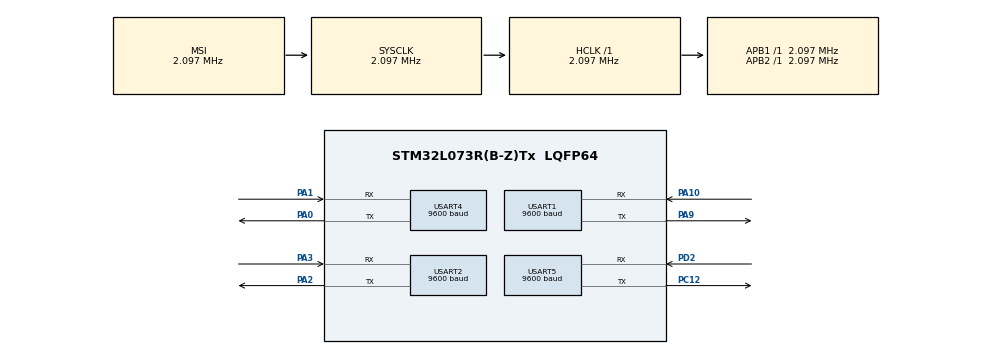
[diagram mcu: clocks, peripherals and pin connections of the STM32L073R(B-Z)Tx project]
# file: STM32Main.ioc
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Dma.Request0=USART5_RX
Dma.Request1=USART1_RX
Dma.USART1_RX.1.Direction=DMA_PERIPH_TO_MEMORY
Dma.USART1_RX.1.Instance=DMA1_Channel3
Dma.USART1_RX.1.MemDataAlignment=DMA_MDATAALIGN_BYTE
Dma.USART1_RX.1.MemInc=DMA_MINC_ENABLE
Dma.USART1_RX.1.Mode=DMA_NORMAL
Dma.USART1_RX.1.PeriphDataAlignment=DMA_PDATAALIGN_BYTE
Dma.USART1_RX.1.PeriphInc=DMA_PINC_DISABLE
Dma.USART1_RX.1.Priority=DMA_PRIORITY_LOW
Dma.USART5_RX.0.Direction=DMA_PERIPH_TO_MEMORY
Dma.USART5_RX.0.Instance=DMA1_Channel2
Dma.USART5_RX.0.MemDataAlignment=DMA_MDATAALIGN_BYTE
Dma.USART5_RX.0.MemInc=DMA_MINC_ENABLE
Dma.USART5_RX.0.Mode=DMA_NORMAL
Dma.USART5_RX.0.PeriphDataAlignment=DMA_PDATAALIGN_BYTE
Dma.USART5_RX.0.PeriphInc=DMA_PINC_DISABLE
Dma.USART5_RX.0.Priority=DMA_PRIORITY_LOW
Mcu.Family=STM32L0
Mcu.Name=STM32L073R(B-Z)Tx
Mcu.Package=LQFP64
NVIC.DMA1_Channel2_3_IRQn=true\:0\:0\:false\:false\:true\:false\:true\:true
NVIC.USART1_IRQn=true\:0\:0\:false\:false\:true\:true\:true\:true
NVIC.USART2_IRQn=true\:0\:0\:false\:false\:true\:true\:true\:true
NVIC.USART4_5_IRQn=true\:0\:0\:false\:false\:true\:true\:true\:true
PA0.Mode=Asynchronous
PA0.Signal=USART4_TX
PA1.Mode=Asynchronous
PA1.Signal=USART4_RX
PA10.Mode=Asynchronous
PA10.Signal=USART1_RX
PA2.Mode=Asynchronous
PA2.Signal=USART2_TX
PA3.Mode=Asynchronous
PA3.Signal=USART2_RX
PA9.Mode=Asynchronous
PA9.Signal=USART1_TX
PC12.Mode=Asynchronous
PC12.Signal=USART5_TX
PD2.Mode=Asynchronous
PD2.Signal=USART5_RX
ProjectManager.HeapSize=0x200
ProjectManager.StackSize=0x400
ProjectManager.TargetToolchain=STM32CubeIDE
RCC.AHBFreq_Value=2097000
RCC.APB1Freq_Value=2097000
RCC.APB1TimFreq_Value=2097000
RCC.APB2Freq_Value=2097000
RCC.APB2TimFreq_Value=2097000
RCC.HCLKFreq_Value=2097000
RCC.HSE_VALUE=8000000
RCC.HSI16_VALUE=16000000
RCC.HSI48_VALUE=48000000
RCC.HSI_VALUE=16000000
RCC.LSE_VALUE=32768
RCC.MSI_VALUE=2097000
RCC.SYSCLKFreq_VALUE=2097000
RCC.VCOOutputFreq_Value=48000000
USART1.BaudRate=9600
USART1.VirtualMode-Asynchronous=VM_ASYNC
USART2.BaudRate=9600
USART2.VirtualMode-Asynchronous=VM_ASYNC
USART4.BaudRate=9600
USART4.VirtualMode-Asynchronous=VM_ASYNC
USART5.BaudRate=9600
USART5.VirtualMode-Asynchronous=VM_ASYNC
board=custom

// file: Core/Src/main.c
/* USER CODE BEGIN Header */
/**
  ******************************************************************************
  * @file           : main.c
  * @brief          : Main program body
  ******************************************************************************
  * @attention
  *
  * Copyright (c) 2025 STMicroelectronics.
  * All rights reserved.
  *
  * This software is licensed under terms that can be found in the LICENSE file
  * in the root directory of this software component.
  * If no LICENSE file comes with this software, it is provided AS-IS.
  *
  ******************************************************************************
  */
/* USER CODE END Header */
//#include "main.h"
//#include "dma.h"
//#include "usart.h"
//#include "gpio.h"

/* USER CODE BEGIN PD */
#define BUFFER_SIZE 64

/* USER CODE END PD */

/* USER CODE BEGIN PV */
uint8_t dma_commod_buf[BUFFER_SIZE] __attribute__((aligned(4)));
uint8_t dma_sensor_buf[BUFFER_SIZE] __attribute__((aligned(4)));
uint8_t actuator_buf[ACTUATOR_PACKET_SIZE] __attribute__((aligned(4)));
uint8_t sensor_buf[SENSOR_PACKET_SIZE] __attribute__((aligned(4)));

struct ActuatorPacket act_config;
struct ActuatorPacket masked_act_config;
struct SensorPacket sensor_data;

/* packet flag
 * [0] Got actuator packet from COMMOD	(COMMOD_ACT)
 * [1] Got actuator packet from SENSOR	(SENSOR_ACT)
 * [2] Got sensor packet from SENSOR	(SENSOR_SENSOR)
 */
uint8_t packet_flag[3] = {0, 0, 0};

#define COMMOD_ACT 0
#define SENSOR_ACT 1
#define SENSOR_SENSOR 2

//@TODO Refactoring
uint8_t isTunnel;
const uint16_t distances[] = { 0, 10, 15, 20 };
#define DRIVING_MODE_TUNNEL_THRESHOLD_BRIGHTNESS 3100
#define DRIVING_MODE_TUNNEL_THRESHOLD_HEIGHT 15

/* USER CODE END PV */

void SystemClock_Config(void);
/* USER CODE BEGIN PFP */
void setDefaultActuatorPacket(void);

void printActuatorPacket(struct ActuatorPacket); // DEBUG
void printSensorPacket(void); // DEBUG

/* USER CODE END PFP */

/* USER CODE BEGIN 0 */

// UART Interrupt Callback
//void HAL_UART_RxCpltCallback(UART_HandleTypeDef *huart)
//{
//	if (huart->Instance == USART1) { // Communication Module (COMMOD)
//		uint8_t msg[64];
//
//		int len = snprintf(msg, sizeof(msg), "\r\n[<- COMMOD_ACT]\r\n"); // DEBUG
//		HAL_UART_Transmit(&huart2, (uint8_t*)msg, len, HAL_MAX_DELAY); // DEBUG
//
//		if( deserialize_actuator_packet(&actuator_buf, &act_config) == 0){
//			packet_flag[COMMOD_ACT] = 1;
//		}
//		HAL_UART_Receive_IT(UART_COMMOD, actuator_buf, ACTUATOR_PACKET_SIZE);
//    }
//}

// UART DMA Callback
void HAL_UARTEx_RxEventCallback(UART_HandleTypeDef *huart, uint16_t Size)
{
	uint8_t msg[BUFFER_SIZE]; // DEBUG
	int len;

	if(huart->Instance == USART1) // Communication module (COMMOD)
	{
		if(dma_commod_buf[0] == UART_START_BYTE) {
			if(dma_commod_buf[1] == ACTUATOR_PACKET_ID && Size == ACTUATOR_PACKET_SIZE)
			{
				memcpy(actuator_buf, dma_commod_buf, ACTUATOR_PACKET_SIZE);

				len = snprintf(msg, sizeof(msg), "\r\n[<- COMMOD_ACT]\r\n"); // DEBUG
				HAL_UART_Transmit(&huart2, (uint8_t*)msg, len, HAL_MAX_DELAY); // DEBUG

				packet_flag[COMMOD_ACT] = 1;
			}
		}
		HAL_UARTEx_ReceiveToIdle_DMA(UART_COMMOD, dma_commod_buf, BUFFER_SIZE);
	}
	else if(huart->Instance == USART5) // Sensor module
	{
		//len = snprintf(msg, sizeof(msg), "\r\n[<- check1]\r\n"); // DEBUG
		//HAL_UART_Transmit(&huart2, (uint8_t*)msg, len, HAL_MAX_DELAY); // DEBUG
		if(dma_sensor_buf[0] == UART_START_BYTE)
		{
			//len = snprintf(msg, sizeof(msg), "\r\n[<- check2]\r\n"); // DEBUG
			//HAL_UART_Transmit(&huart2, (uint8_t*)msg, len, HAL_MAX_DELAY); // DEBUG
			if((dma_sensor_buf[1] == ACTUATOR_PACKET_ID) && (Size == ACTUATOR_PACKET_SIZE))
			{
				//len = snprintf(msg, sizeof(msg), "\r\n[<- check3]\r\n"); // DEBUG
				//HAL_UART_Transmit(&huart2, (uint8_t*)msg, len, HAL_MAX_DELAY); // DEBUG
				memcpy(actuator_buf, dma_sensor_buf, ACTUATOR_PACKET_SIZE);

				len = snprintf(msg, sizeof(msg), "\r\n[<- SENSOR_ACT]\r\n"); // DEBUG
				HAL_UART_Transmit(&huart2, (uint8_t*)msg, len, HAL_MAX_DELAY); // DEBUG

				packet_flag[SENSOR_ACT] = 1;
			}
			else if((dma_sensor_buf[1] == SENSOR_PACKET_ID) && (Size == SENSOR_PACKET_SIZE))
			{
				//len = snprintf(msg, sizeof(msg), "\r\n[<- check4]\r\n"); // DEBUG
				//HAL_UART_Transmit(&huart2, (uint8_t*)msg, len, HAL_MAX_DELAY); // DEBUG
				memcpy(sensor_buf, dma_sensor_buf, SENSOR_PACKET_SIZE);

				len = snprintf(msg, sizeof(msg), "\r\n[<- SENSOR_SENSOR]\r\n"); // DEBUG
				HAL_UART_Transmit(&huart2, (uint8_t*)msg, len, HAL_MAX_DELAY); // DEBUG

				packet_flag[SENSOR_SENSOR] = 1;
			}
		}
		//len = snprintf(msg, sizeof(msg), "\r\n[<- check5]\r\n"); // DEBUG
		//HAL_UART_Transmit(&huart2, (uint8_t*)msg, len, HAL_MAX_DELAY); // DEBUG
		HAL_UARTEx_ReceiveToIdle_DMA(UART_SENSOR, dma_sensor_buf, BUFFER_SIZE);
	}
}

enum  control_value_window{
		//WINDOW_STEP0 = 430, //테스트용
		WINDOW_STEP0 = 430, //-80도
		WINDOW_STEP1 = 505,
		WINDOW_STEP2 = 580,
		WINDOW_STEP3 = 650 //-40도
		//WINDOW_STEP3 = 505 //테스트용

};
enum  control_value_seat{
		//SEAT_STEP0 = 1180, //for test
		SEAT_STEP0 = 1250, //+80도
		SEAT_STEP1 = 1180,
		SEAT_STEP2 = 1110,
		SEAT_STEP3 = 1040 //+40도
		//SEAT_STEP3 = 1110 //for test

};
void setMotorValue(struct ActuatorPacket *packet)
{
	switch(packet->servo_window){
	case 0:
		packet->servo_window = WINDOW_STEP0;
		break;
	case 1:
		packet->servo_window = WINDOW_STEP1;
		break;
	case 2:
		packet->servo_window = WINDOW_STEP2;
		break;
	case 3:
		packet->servo_window = WINDOW_STEP3;
		break;
	default:
		packet->servo_window = WINDOW_STEP0;
		break;
	};

	switch(packet->servo_chair){
	case 0:
		packet->servo_chair = SEAT_STEP0;
		break;
	case 1:
		packet->servo_chair = SEAT_STEP1;
		break;
	case 2:
		packet->servo_chair = SEAT_STEP2;
		break;
	case 3:
		packet->servo_chair = SEAT_STEP3;
		break;
	default:
		packet->servo_chair = SEAT_STEP0;
		break;
	};
}
/* USER CODE END 0 */

int main(void)
{

  /* MCU Configuration--------------------------------------------------------*/

  /* Reset of all peripherals, Initializes the Flash interface and the Systick. */
  HAL_Init();

  /* Configure the system clock */
  SystemClock_Config();

  /* Initialize all configured peripherals */
  MX_GPIO_Init();
  MX_DMA_Init();
  MX_USART1_UART_Init();
  MX_USART2_UART_Init();
  MX_USART4_UART_Init();
  MX_USART5_UART_Init();
  /* USER CODE BEGIN 2 */
  setDefaultActuatorPacket();

//  HAL_UART_Receive_IT(UART_COMMOD, actuator_buf, ACTUATOR_PACKET_SIZE);
//  HAL_UART_Receive_IT(UART_SENSOR, sensor_buf, BUFFER_SIZE);
  HAL_UARTEx_ReceiveToIdle_DMA(UART_COMMOD, dma_commod_buf, BUFFER_SIZE);
  HAL_UARTEx_ReceiveToIdle_DMA(UART_SENSOR, dma_sensor_buf, BUFFER_SIZE);

  char debug_buf[BUFFER_SIZE]; // DEBUG
  int len; // DEBUG

  /* USER CODE END 2 */

  /* Infinite loop */
  /* USER CODE BEGIN WHILE */
  while (1)
  {

	/* Actuator packet from Communication module */
	if(packet_flag[COMMOD_ACT] == 1) {
		packet_flag[COMMOD_ACT] = 0;

		if(deserialize_actuator_packet(actuator_buf, &act_config) == 0) // check crc
		{
			//printActuatorPacket(act_config);					// DEBUG
			memcpy(&masked_act_config, &act_config, ACTUATOR_PACKET_SIZE);

			if(isTunnel) {
				masked_act_config.led = 1;

				if(masked_act_config.driving_mode) {
					masked_act_config.MODE = 0x1;
					masked_act_config.servo_window = 0;
				}
			}

			serialize_actuator_packet(&masked_act_config, actuator_buf);

			memcpy(&masked_act_config, actuator_buf, ACTUATOR_PACKET_SIZE); // DEBUG
			len = snprintf(debug_buf, sizeof(debug_buf), "\r\n[-> COMMOD]\r\n"); // DEBUG
			HAL_UART_Transmit(&huart2, (uint8_t*)debug_buf, len, HAL_MAX_DELAY); // DEBUG
			printActuatorPacket(masked_act_config); // DEBUG
			//HAL_UART_Transmit(UART_COMMOD, actuator_buf, ACTUATOR_PACKET_SIZE, HAL_MAX_DELAY); // DEBUG

			if(HAL_OK != HAL_UART_Transmit(UART_SENSOR, actuator_buf, ACTUATOR_PACKET_SIZE, HAL_MAX_DELAY))
			{
				Error_Handler();
			}

			//액추에이터 구조체에 모터 제어값 적용 후 버퍼에 담기
			setMotorValue(&masked_act_config);
			serialize_actuator_packet(&masked_act_config, actuator_buf);
			if(HAL_OK != HAL_UART_Transmit(UART_ACTUATOR, actuator_buf, ACTUATOR_PACKET_SIZE, HAL_MAX_DELAY))
			{
				Error_Handler();
			}

			memset(actuator_buf,0,sizeof(actuator_buf));
		}
	}

	/* Actuator packet from Sensor module */
	if(packet_flag[SENSOR_ACT] == 1) {
		packet_flag[SENSOR_ACT] = 0;

		if(deserialize_actuator_packet(actuator_buf, &act_config) == 0) // check crc
		{
			//printActuatorPacket(act_config); // DEBUG
			memcpy(&masked_act_config, &act_config, ACTUATOR_PACKET_SIZE);

			if(isTunnel) {
				masked_act_config.led = 1;

				if(masked_act_config.driving_mode) {
					masked_act_config.MODE = 0x1;
					masked_act_config.servo_window = 0;
				}
			}

			serialize_actuator_packet(&masked_act_config, actuator_buf);

			//Send Actuator packet to Sensor // DEBUG
			memcpy(&masked_act_config, actuator_buf, ACTUATOR_PACKET_SIZE); // DEBUG
			len = snprintf(debug_buf, sizeof(debug_buf), "\r\n[-> SENSOR]\r\n"); // DEBUG
			HAL_UART_Transmit(&huart2, (uint8_t*)debug_buf, len, HAL_MAX_DELAY); // DEBUG
			printActuatorPacket(masked_act_config); // DEBUG

			if(HAL_OK != HAL_UART_Transmit(UART_COMMOD, actuator_buf, ACTUATOR_PACKET_SIZE, HAL_MAX_DELAY))
			{
				Error_Handler();
			}
			//HAL_UART_Transmit(UART_SENSOR, actuator_buf, ACTUATOR_PACKET_SIZE, HAL_MAX_DELAY);

			//액추에이터 구조체에 모터 제어값 적용 후 버퍼에 담기
			setMotorValue(&masked_act_config);
			serialize_actuator_packet(&masked_act_config, actuator_buf);
			if(HAL_OK != HAL_UART_Transmit(UART_ACTUATOR, actuator_buf, ACTUATOR_PACKET_SIZE, HAL_MAX_DELAY))
			{
				Error_Handler();
			}

			memset(actuator_buf,0,sizeof(actuator_buf));
		}
	}

	/* Sensor packet from Sensor module */
	if(packet_flag[SENSOR_SENSOR] == 1) {
		packet_flag[SENSOR_SENSOR] = 0;

		if(deserialize_sensor_packet(sensor_buf, &sensor_data) == 0) // check crc
		{
			memcpy(&masked_act_config, &act_config, ACTUATOR_PACKET_SIZE);

			if(sensor_data.photo < DRIVING_MODE_TUNNEL_THRESHOLD_BRIGHTNESS && // is Tunnel
					sensor_data.ultra_sonic1 < DRIVING_MODE_TUNNEL_THRESHOLD_HEIGHT) {
				isTunnel = 1;
			} else {
				isTunnel = 0;
			}

			printSensorPacket(); //debug

			len = snprintf(debug_buf, sizeof(debug_buf), "Tunnel: %u\r\n\r\n", isTunnel); // DEBUG
			HAL_UART_Transmit(&huart2, (uint8_t*)debug_buf, len, HAL_MAX_DELAY); // DEBUG

			if(isTunnel) {
				masked_act_config.led = 1;

				if(masked_act_config.driving_mode) {
					masked_act_config.MODE = 0x1;
					masked_act_config.servo_window = 0;
				}

				if((sensor_data.ultra_sonic2) < distances[act_config.front_distance]+5) {
					masked_act_config.buzzer = 1;
				} else {
					masked_act_config.buzzer = 0;
				}
			}
			else
			{
				if((sensor_data.ultra_sonic2) < distances[act_config.front_distance]) {
					masked_act_config.buzzer = 1;
				} else {
					masked_act_config.buzzer = 0;
				}
			}

			setMotorValue(&masked_act_config);
			serialize_actuator_packet(&masked_act_config, actuator_buf);
			if(HAL_OK != HAL_UART_Transmit(UART_ACTUATOR, actuator_buf, ACTUATOR_PACKET_SIZE, HAL_MAX_DELAY))
			{
				Error_Handler();
			}

			memset(actuator_buf,0,sizeof(actuator_buf));
		}

	}

    /* USER CODE END WHILE */

  }
}

void SystemClock_Config(void)
{
  RCC_OscInitTypeDef RCC_OscInitStruct = {0};
  RCC_ClkInitTypeDef RCC_ClkInitStruct = {0};
  RCC_PeriphCLKInitTypeDef PeriphClkInit = {0};

  /** Configure the main internal regulator output voltage
  */
  __HAL_PWR_VOLTAGESCALING_CONFIG(PWR_REGULATOR_VOLTAGE_SCALE1);

  /** Initializes the RCC Oscillators according to the specified parameters
  * in the RCC_OscInitTypeDef structure.
  */
  RCC_OscInitStruct.OscillatorType = RCC_OSCILLATORTYPE_MSI;
  RCC_OscInitStruct.MSIState = RCC_MSI_ON;
  RCC_OscInitStruct.MSICalibrationValue = 0;
  RCC_OscInitStruct.MSIClockRange = RCC_MSIRANGE_5;
  RCC_OscInitStruct.PLL.PLLState = RCC_PLL_NONE;
  if (HAL_RCC_OscConfig(&RCC_OscInitStruct) != HAL_OK)
  {
    Error_Handler();
  }

  /** Initializes the CPU, AHB and APB buses clocks
  */
  RCC_ClkInitStruct.ClockType = RCC_CLOCKTYPE_HCLK|RCC_CLOCKTYPE_SYSCLK
                              |RCC_CLOCKTYPE_PCLK1|RCC_CLOCKTYPE_PCLK2;
  RCC_ClkInitStruct.SYSCLKSource = RCC_SYSCLKSOURCE_MSI;
  RCC_ClkInitStruct.AHBCLKDivider = RCC_SYSCLK_DIV1;
  RCC_ClkInitStruct.APB1CLKDivider = RCC_HCLK_DIV1;
  RCC_ClkInitStruct.APB2CLKDivider = RCC_HCLK_DIV1;

  if (HAL_RCC_ClockConfig(&RCC_ClkInitStruct, FLASH_LATENCY_0) != HAL_OK)
  {
    Error_Handler();
  }
  PeriphClkInit.PeriphClockSelection = RCC_PERIPHCLK_USART1|RCC_PERIPHCLK_USART2;
  PeriphClkInit.Usart1ClockSelection = RCC_USART1CLKSOURCE_PCLK2;
  PeriphClkInit.Usart2ClockSelection = RCC_USART2CLKSOURCE_PCLK1;
  if (HAL_RCCEx_PeriphCLKConfig(&PeriphClkInit) != HAL_OK)
  {
    Error_Handler();
  }
}

/* USER CODE BEGIN 4 */

void setDefaultActuatorPacket(void)
{
  act_config.start_byte = 0xAA;
  act_config.packet_id = 0x01;

  act_config.led_rgb = 0b000;
  act_config.fan = 0;
  act_config.led = 0;
  act_config.buzzer = 0;
  act_config.driving_mode = 2;

  act_config.servo_chair = 0;
  act_config.servo_window = 0;
  act_config.front_distance = 1;

  act_config.crc = 0;

  memcpy(&masked_act_config, &act_config, ACTUATOR_PACKET_SIZE);
}
void HAL_UART_ErrorCallback(UART_HandleTypeDef *huart)
{
	if(huart->Instance == huart1.Instance)
	{
	  HAL_UARTEx_ReceiveToIdle_DMA(UART_COMMOD, dma_commod_buf, BUFFER_SIZE);
	}
  if(huart->Instance == huart5.Instance)
  {
	  HAL_UARTEx_ReceiveToIdle_DMA(UART_SENSOR, dma_sensor_buf, BUFFER_SIZE);
  }

}
void testTask(void)
{
   static int a = 0;

   if(a == 0)
   {
      a = 1;
      act_config.servo_chair = 1200;
      act_config.servo_window = 450;
      act_config.led = 1;
      act_config.led_rgb = 7;
      act_config.fan = 3;
      act_config.buzzer = 1;
      serialize_actuator_packet(&act_config,actuator_buf);
      if(HAL_UART_Transmit_IT(UART_ACTUATOR,actuator_buf , ACTUATOR_PACKET_SIZE) != HAL_OK)
      {
        Error_Handler();
      }
   }
   else
   {
      a = 0;
      act_config.servo_chair = 450;
      act_config.servo_window = 1200;
      act_config.led = 0;
      act_config.led_rgb = 0;
      act_config.fan = 0;
      act_config.buzzer = 1;
      serialize_actuator_packet(&act_config,actuator_buf);
      if(HAL_UART_Transmit_IT(UART_ACTUATOR,actuator_buf , ACTUATOR_PACKET_SIZE) != HAL_OK)
      {
        Error_Handler();
      }
   }
}

void printActuatorPacket(struct ActuatorPacket act_config)
{
    char msg[64];
    int len;

    // 1. start_byte
    len = snprintf(msg, sizeof(msg), "start_byte: 0x%02X\r\n", act_config.start_byte);
    HAL_UART_Transmit(&huart2, (uint8_t*)msg, len, HAL_MAX_DELAY);

    // 2. packet_id
    len = snprintf(msg, sizeof(msg), "packet_id:  0x%02X\r\n", act_config.packet_id);
    HAL_UART_Transmit(&huart2, (uint8_t*)msg, len, HAL_MAX_DELAY);

    // 3. RGB bits
    len = snprintf(msg, sizeof(msg),
        "LED RGB:    R=%u G=%u B=%u\r\n",
        act_config.R, act_config.G, act_config.B);
    HAL_UART_Transmit(&huart2, (uint8_t*)msg, len, HAL_MAX_DELAY);

    // 4. fan, led, buzzer, driving_mode
    len = snprintf(msg, sizeof(msg),
        "fan: %u  led: %u  buzzer: %u  mode: %u\r\n",
        act_config.fan, act_config.led, act_config.buzzer, act_config.driving_mode);
    HAL_UART_Transmit(&huart2, (uint8_t*)msg, len, HAL_MAX_DELAY);

    // 5. servo angles
    len = snprintf(msg, sizeof(msg),
        "servo_chair:  %u\r\n"
        "servo_window: %u\r\n"
        "front_distance: %u\r\n",
        act_config.servo_chair,
        act_config.servo_window,
        act_config.front_distance);
    HAL_UART_Transmit(&huart2, (uint8_t*)msg, len, HAL_MAX_DELAY);

    // 6. crc
    len = snprintf(msg, sizeof(msg), "crc: 0x%02X\r\n\r\n", act_config.crc);
    HAL_UART_Transmit(&huart2, (uint8_t*)msg, len, HAL_MAX_DELAY);
}

void printSensorPacket(void)
{
    char msg[64];
    int len;

    // 1. start_byte
    len = snprintf(msg, sizeof(msg), "start_byte:    0x%02X\r\n", sensor_data.start_byte);
    HAL_UART_Transmit(&huart2, (uint8_t*)msg, len, HAL_MAX_DELAY);

    // 2. packet_id
    len = snprintf(msg, sizeof(msg), "packet_id:     0x%02X\r\n", sensor_data.packet_id);
    HAL_UART_Transmit(&huart2, (uint8_t*)msg, len, HAL_MAX_DELAY);

    // 3. 조도 센서 값 (photo)
    len = snprintf(msg, sizeof(msg), "photo:         %u\r\n", sensor_data.photo);
    HAL_UART_Transmit(&huart2, (uint8_t*)msg, len, HAL_MAX_DELAY);

    // 4. 초음파 센서 1
    len = snprintf(msg, sizeof(msg), "ultra_sonic1:  %u\r\n", sensor_data.ultra_sonic1);
    HAL_UART_Transmit(&huart2, (uint8_t*)msg, len, HAL_MAX_DELAY);

    // 5. 초음파 센서 2
    len = snprintf(msg, sizeof(msg), "ultra_sonic2:  %u\r\n", sensor_data.ultra_sonic2);
    HAL_UART_Transmit(&huart2, (uint8_t*)msg, len, HAL_MAX_DELAY);

    // 6. CRC
    len = snprintf(msg, sizeof(msg), "crc:           0x%02X\r\n\r\n", sensor_data.crc);
    HAL_UART_Transmit(&huart2, (uint8_t*)msg, len, HAL_MAX_DELAY);
}
/* USER CODE END 4 */

void Error_Handler(void)
{
  __disable_irq();
  while (1)
  {
  }
}
